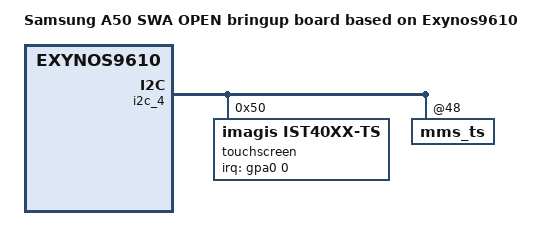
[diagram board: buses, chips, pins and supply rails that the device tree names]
/*
 * SAMSUNG EXYNOS9610 board device tree source
 *
 * Copyright (c) 2018 Samsung Electronics Co., Ltd.
 *		http://www.samsung.com
 *
 * This program is free software; you can redistribute it and/or modify
 * it under the terms of the GNU General Public License version 2 as
 * published by the Free Software Foundation.
 */

/dts-v1/;
/plugin/;
#include "exynos9610-a50_common.dtsi"
#include "battery_data_a50_cis_ser_01.dtsi"
#include "exynos9610-a50_fingerprint_00.dtsi"
#include "exynos9610-a50_sensorhub_00.dtsi"
#include "exynos9610-a50_nfc_00.dtsi"
#include "exynos9610-a50_swa_open_gpio_00.dtsi"

/ {
	compatible = "samsung, A50 SWA OPEN 00", "samsung,EXYNOS9610";
	dtbo-hw_rev = <0>;
	dtbo-hw_rev_end = <0>;

	fragment@model {
		target-path = "/";
		__overlay__ {
			#address-cells = <2>;
			#size-cells = <1>;

			model = "Samsung A50 SWA OPEN bringup board based on Exynos9610";

			i2c_4:i2c@13870000 {
				touchscreen@50 {
					compatible = "imagis,ist40xx-ts";
					reg = <0x50>;
					pinctrl-names = "on_state", "off_state";
					pinctrl-0 = <&attn_irq>;
					pinctrl-1 = <&attn_input>;
					imagis,irq-gpio = <&gpa0 0 0>;
					imagis,regulator_avdd = "tsp_ldo_en";
					imagis,fw-bin = <1>;
					imagis,octa-hw = <1>;
					imagis,area-size = <63 126 60>; /* indicator: 24dp~63px navigator:48dp~126px edge:60px | dpi:420*/
					imagis,ic-version = "ist40xx";
					imagis,project-name = "a7_2018";
					imagis,tclm_level = <2>;
					imagis,afe_base = <0x0110>;
					imagis,factory_item_version = <1>;
					status = "okay";
				};
			};

			i2c_4:i2c@13870000 {
				status = "okay";
				mms_ts@48 {
					melfas,fw_name = "tsp_melfas/mss100_a70.fw";
				};
			};

			dwmmc2@13550000 {
				card-detect = <&gpa2 6 0xf>;
			};

			sec_vib {
				compatible = "sec_vib";
				sec_vib_pdata {
					status = "okay";
					sec_vib,max_timeout = <10000>;
					sec_vib,ldo_type = <1>;
					sec_vib,ldo_en = <&gpa2 1 0>;
				};
			};

		}; /* end of __overlay__ */
	}; /* end of fragment */
}; /* end of root */


&pinctrl_0 {
	earant_det: earant-det {
		samsung,pins ="gpa1-4";
		samsung,pin-function = <0xf>;
		samsung,pin-pud = <0>;
	};

	dwmmc2_cd_ext_irq: dwmmc2_cd_ext_irq {
		samsung,pins = "gpa2-6";
		samsung,pin-function = <0xf>;
		samsung,pin-pud = <0>;
		samsung,pin-drv = <3>;
	};

	grip_int: grip-int {
		samsung,pins = "gpa2-7";
		samsung,pin-function = <0xf>;
		samsung,pin-pud = <3>;
	};
};

&pinctrl_4 {
	grip_i2c: grip-i2c {
		samsung,pins = "gpp1-2", "gpp1-3";
		samsung,pin-function = <2>;
		samsung,pin-pud = <3>;
	};

	grip_gpio: grip-gpio {
		samsung,pins = "gpp1-2", "gpp1-3";
		samsung,pin-function = <0>;
		samsung,pin-pud = <3>;
	};	
};
